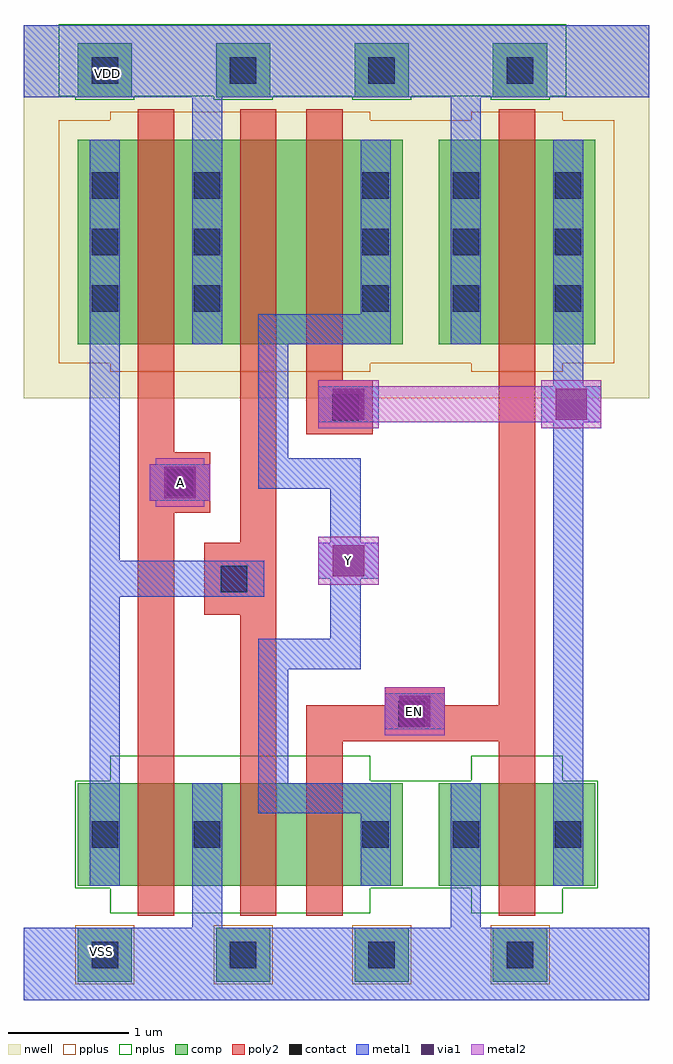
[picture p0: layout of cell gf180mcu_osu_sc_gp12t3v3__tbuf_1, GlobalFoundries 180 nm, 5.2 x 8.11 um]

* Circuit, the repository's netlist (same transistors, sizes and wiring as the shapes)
* Copyright 2022 Google LLC
*
* Licensed under the Apache License, Version 2.0 (the "License");
* you may not use this file except in compliance with the License.
* You may obtain a copy of the License at
*
*      http://www.apache.org/licenses/LICENSE-2.0
*
* Unless required by applicable law or agreed to in writing, software
* distributed under the License is distributed on an "AS IS" BASIS,
* WITHOUT WARRANTIES OR CONDITIONS OF ANY KIND, either express or implied.
* See the License for the specific language governing permissions and
* limitations under the License.

.inc "/import/yukari1/lrburle/OSU_180/char/techfiles/design.hspice"
.lib "/import/yukari1/lrburle/OSU_180/char/techfiles/sm141064.hspice" typical

.GLOBAL VDD
.GLOBAL VSS

.option scale=0.05u

.subckt gf180mcu_osu_sc_gp12t3v3__tbuf_1 A Y EN
X0 Y EN a_42_19 VSS nmos_3p3 w=17 l=6
X1 Y a_47_94 a_42_109 VDD pmos_3p3 w=34 l=6
X2 a_42_109 a_9_19 VDD VDD pmos_3p3 w=34 l=6
X3 VDD A a_9_19 VDD pmos_3p3 w=34 l=6
X4 VSS A a_9_19 VSS nmos_3p3 w=17 l=6
X5 a_47_94 EN VSS VSS nmos_3p3 w=17 l=6
X6 a_47_94 EN VDD VDD pmos_3p3 w=34 l=6
X7 a_42_19 a_9_19 VSS VSS nmos_3p3 w=17 l=6
.ends

** hspice subcircuit dictionary

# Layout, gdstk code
import gdstk
lib = gdstk.Library(unit=1e-6, precision=1e-09)
def R(c, l, rs):  # rectangles x0, y0, x1, y1
    for r in rs: c.add(gdstk.rectangle(r[:2], r[2:], *l))
def A(c, l, x, y, w, h, nx, ny, dx, dy):  # array of equal rectangles
    R(c, l, [(x+i*dx, y+j*dy, x+i*dx+w, y+j*dy+h) for i in range(nx) for j in range(ny)])
nwell = (21, 0)
comp = (22, 0)
poly2 = (30, 0)
pplus = (31, 0)
nplus = (32, 0)
contact = (33, 0)
metal1 = (34, 0)
via1 = (35, 0)
metal2 = (36, 0)

gf180mcu_osu_sc_gp12t3v3 = lib.new_cell('gf180mcu_osu_sc_gp12t3v3__tbuf_1')
R(gf180mcu_osu_sc_gp12t3v3, nwell, [(0,5,5.2,8.1)])
A(gf180mcu_osu_sc_gp12t3v3, comp, 0.45, 0.15, 0.45, 0.45, 4, 2, 1.15, 7.35)
R(gf180mcu_osu_sc_gp12t3v3, comp, [(0.45,0.95,3.15,1.8), (3.45,0.95,4.75,1.8), (0.45,5.45,3.15,7.15), (3.45,5.45,4.75,7.15)])
R(gf180mcu_osu_sc_gp12t3v3, poly2, [(0.95,0.7,1.25,4.05), (1.8,0.7,2.1,3.2), (2.35,0.7,2.65,2.15), (3.95,0.7,4.25,2.15), (2.35,2.15,4.25,2.45), (3,2.45,3.5,2.6), (3.95,2.45,4.25,7.4), (1.5,3.2,2.1,3.8), (1.8,3.8,2.1,7.4), (0.95,4.05,1.55,4.55), (0.95,4.55,1.25,7.4), (2.35,4.7,2.9,5.15), (2.35,5.15,2.65,7.4)])
A(gf180mcu_osu_sc_gp12t3v3, pplus, 0.43, 0.13, 0.49, 0.49, 4, 1, 1.15, 0)
R(gf180mcu_osu_sc_gp12t3v3, pplus, [(0.72,5.22,2.88,5.29), (3.72,5.22,4.48,5.29), (0.29,5.29,4.91,7.31), (0.72,7.31,2.88,7.38), (3.72,7.31,4.48,7.38)])
A(gf180mcu_osu_sc_gp12t3v3, nplus, 0.43, 7.48, 0.49, 0.03, 4, 1, 1.15, 0)
R(gf180mcu_osu_sc_gp12t3v3, nplus, [(0.72,0.72,2.88,0.93), (3.72,0.72,4.48,0.93), (0.43,0.93,4.77,1.82), (0.72,1.82,2.88,2.03), (3.72,1.82,4.48,2.03), (0.29,7.51,4.51,8.11)])
A(gf180mcu_osu_sc_gp12t3v3, contact, 0.565, 0.265, 0.22, 0.22, 4, 2, 1.15, 7.35)
A(gf180mcu_osu_sc_gp12t3v3, contact, 0.565, 5.72, 0.22, 0.22, 1, 3, 0, 0.47)
A(gf180mcu_osu_sc_gp12t3v3, contact, 1.415, 5.72, 0.22, 0.22, 1, 3, 0, 0.47)
A(gf180mcu_osu_sc_gp12t3v3, contact, 2.815, 5.72, 0.22, 0.22, 1, 3, 0, 0.47)
A(gf180mcu_osu_sc_gp12t3v3, contact, 3.565, 5.72, 0.22, 0.22, 1, 3, 0, 0.47)
A(gf180mcu_osu_sc_gp12t3v3, contact, 4.415, 5.72, 0.22, 0.22, 1, 3, 0, 0.47)
R(gf180mcu_osu_sc_gp12t3v3, contact, [(0.565,1.265,0.785,1.485), (1.415,1.265,1.635,1.485), (2.815,1.265,3.035,1.485), (3.565,1.265,3.785,1.485), (4.415,1.265,4.635,1.485), (3.115,2.265,3.335,2.485), (1.64,3.39,1.86,3.61), (1.19,4.19,1.41,4.41), (2.565,4.815,2.785,5.035)])
R(gf180mcu_osu_sc_gp12t3v3, metal1, [(0,0,5.2,0.6), (1.4,0.6,1.65,1.8), (3.55,0.6,3.8,1.8), (0.55,0.95,0.8,3.35), (2.8,0.95,3.05,1.55), (4.4,0.95,4.65,4.8), (1.95,1.55,3.05,1.8), (1.95,1.8,2.2,2.75), (3,2.25,3.5,2.55), (1.95,2.75,2.8,3), (2.55,3,2.8,3.5), (0.55,3.35,2,3.65), (2.45,3.5,2.95,3.8), (0.55,3.65,0.8,7.15), (2.55,3.8,2.8,4.25), (1.05,4.15,1.55,4.45), (1.95,4.25,2.8,4.5), (1.95,4.5,2.2,5.45), (2.45,4.8,2.95,5.1), (4.3,4.8,4.8,5.1), (4.4,5.1,4.65,7.15), (1.4,5.45,1.65,7.5), (1.95,5.45,3.05,5.7), (3.55,5.45,3.8,7.5), (2.8,5.7,3.05,7.15), (0,7.5,5.2,8.1)])
R(gf180mcu_osu_sc_gp12t3v3, via1, [(3.12,2.27,3.38,2.53), (2.57,3.52,2.83,3.78), (1.17,4.17,1.43,4.43), (2.57,4.82,2.83,5.08), (4.42,4.82,4.68,5.08)])
R(gf180mcu_osu_sc_gp12t3v3, metal2, [(3,2.2,3.5,2.6), (2.45,3.45,2.95,3.85), (1.1,4.1,1.5,4.15), (1.05,4.15,1.55,4.45), (1.1,4.45,1.5,4.5), (2.45,4.75,2.95,4.8), (4.3,4.75,4.8,4.8), (2.45,4.8,4.8,5.1), (2.45,5.1,2.95,5.15), (4.3,5.1,4.8,5.15)])
gf180mcu_osu_sc_gp12t3v3.add(gdstk.Label('VDD', (0.7,7.7), layer=34, texttype=0))
gf180mcu_osu_sc_gp12t3v3.add(gdstk.Label('VSS', (0.65,0.4), layer=34, texttype=0))
gf180mcu_osu_sc_gp12t3v3.add(gdstk.Label('A', (1.3,4.3), layer=36, texttype=10))
gf180mcu_osu_sc_gp12t3v3.add(gdstk.Label('Y', (2.7,3.65), layer=36, texttype=10))
gf180mcu_osu_sc_gp12t3v3.add(gdstk.Label('EN', (3.25,2.4), layer=36, texttype=10))

lib.write_gds('gf180mcu_osu_sc_gp12t3v3__tbuf_1.gds')
